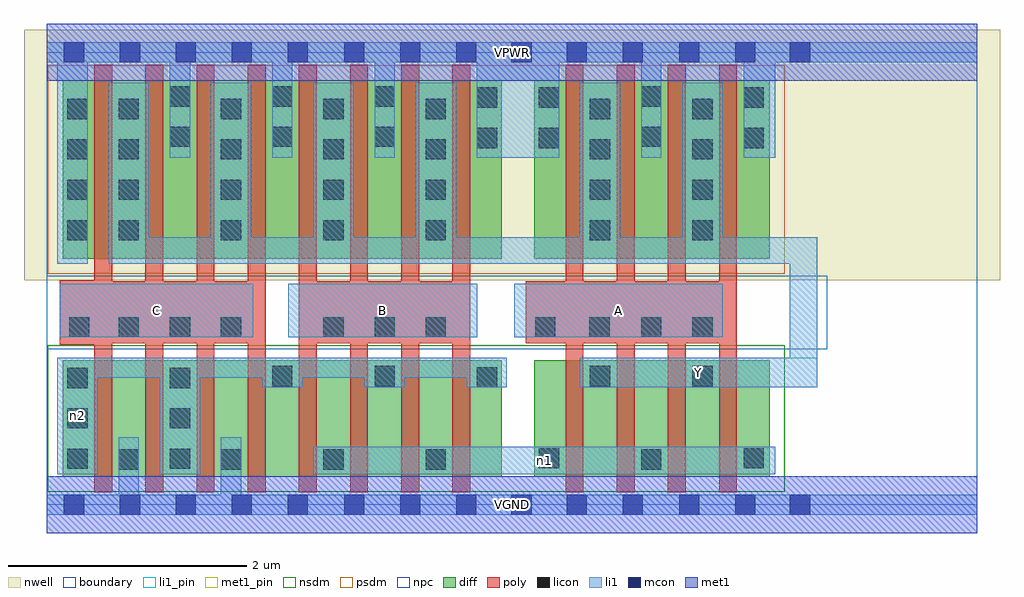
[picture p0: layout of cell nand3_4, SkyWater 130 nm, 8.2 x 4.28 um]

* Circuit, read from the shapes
.subckt nand3_4 A B C VGND VPWR Y n1 n2
XM1 VGND C n2 VSUBS sky130_fd_pr__nfet_01v8 w=0.98 l=0.15 m=4
XM2 n1 B n2 VSUBS sky130_fd_pr__nfet_01v8 w=0.98 l=0.15 m=4
XM3 Y A n1 VSUBS sky130_fd_pr__nfet_01v8 w=0.98 l=0.15 m=4
XM4 Y C VPWR n3 sky130_fd_pr__pfet_01v8 w=1.5 l=0.15 m=4
XM5 Y B VPWR n3 sky130_fd_pr__pfet_01v8 w=1.5 l=0.15 m=4
XM6 Y A VPWR n3 sky130_fd_pr__pfet_01v8 w=1.5 l=0.15 m=4
.ends

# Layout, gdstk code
import gdstk
lib = gdstk.Library(unit=1e-6, precision=1e-09)
def R(c, l, rs):  # rectangles x0, y0, x1, y1
    for r in rs: c.add(gdstk.rectangle(r[:2], r[2:], *l))
def A(c, l, x, y, w, h, nx, ny, dx, dy):  # array of equal rectangles
    R(c, l, [(x+i*dx, y+j*dy, x+i*dx+w, y+j*dy+h) for i in range(nx) for j in range(ny)])
nwell = (64, 20)
diff = (65, 20)
poly = (66, 20)
licon = (66, 44)
li1_pin = (67, 16)
li1 = (67, 20)
mcon = (67, 44)
met1_pin = (68, 16)
met1 = (68, 20)
nsdm = (93, 44)
psdm = (94, 20)
npc = (95, 20)
boundary = (235, 4)

nand3_4 = lib.new_cell('nand3_4')
R(nand3_4, nwell, [(-0.19,1.885,8.01,3.99), (0,1.885,7.82,3.99)])
R(nand3_4, diff, [(0.135,0.235,3.825,1.215), (4.095,0.235,6.075,1.215), (0.135,2.065,3.825,3.565), (4.095,2.065,6.075,3.565)])
A(nand3_4, poly, 0.4, 0.105, 0.15, 3.59, 8, 1, 0.43, 0)
A(nand3_4, poly, 4.36, 0.105, 0.15, 3.59, 4, 1, 0.43, 0)
R(nand3_4, poly, [(0.11,1.345,0.55,1.885), (0.11,1.355,1.84,1.875), (2.12,1.355,3.56,1.875), (4.025,1.355,5.8,1.875)])
A(nand3_4, licon, 0.605, 0.295, 0.17, 0.17, 4, 2, 0.86, 1.925)
A(nand3_4, licon, 0.175, 0.3, 0.17, 0.17, 1, 3, 0, 0.34)
A(nand3_4, licon, 1.035, 0.3, 0.17, 0.17, 1, 3, 0, 0.34)
A(nand3_4, licon, 0.605, 1.405, 0.17, 0.17, 3, 1, 0.43, 0)
A(nand3_4, licon, 2.325, 1.405, 0.17, 0.17, 3, 1, 0.43, 0)
A(nand3_4, licon, 0.175, 2.22, 0.17, 0.17, 1, 4, 0, 0.34)
A(nand3_4, licon, 4.565, 2.22, 0.17, 0.17, 1, 4, 0, 0.34)
A(nand3_4, licon, 5.425, 2.22, 0.17, 0.17, 1, 4, 0, 0.34)
A(nand3_4, licon, 0.605, 2.56, 0.17, 0.17, 4, 3, 0.86, 0.34)
A(nand3_4, licon, 1.035, 3.005, 0.17, 0.17, 3, 2, 0.86, 0.34)
R(nand3_4, licon, [(4.995,0.295,5.165,0.465), (4.135,0.305,4.305,0.475), (5.855,0.305,6.025,0.475), (3.615,0.985,3.785,1.155), (1.895,0.995,2.065,1.165), (2.755,0.995,2.925,1.165), (4.565,0.995,4.735,1.165), (5.425,0.995,5.595,1.165), (0.19,1.405,0.36,1.575), (4.105,1.405,4.275,1.575), (4.56,1.405,4.73,1.575), (4.995,1.405,5.165,1.575), (5.425,1.405,5.595,1.575), (3.615,2.995,3.785,3.165), (4.135,2.995,4.305,3.165), (5.855,2.995,6.025,3.165), (4.995,3.005,5.165,3.175), (3.615,3.335,3.785,3.505), (4.135,3.335,4.305,3.505), (5.855,3.335,6.025,3.505), (4.995,3.345,5.165,3.515)])
R(nand3_4, li1_pin, [(4.48,0.985,6.475,1.235), (0.11,1.405,1.735,1.855), (2.03,1.405,3.62,1.855), (3.93,1.405,5.68,1.855)])
A(nand3_4, li1, 0.52, 2.025, 0.34, 1.52, 4, 1, 0.86, 0)
A(nand3_4, li1, 1.035, 2.915, 0.17, 0.97, 3, 1, 0.86, 0)
R(nand3_4, li1, [(0,-0.085,7.82,0.085), (0.605,-0.085,0.775,0.565), (1.465,-0.085,1.635,0.565), (0.09,0.255,0.43,1.235), (0.95,0.255,1.29,1.235), (2.24,0.255,6.12,0.485), (1.81,0.985,2.15,1.235), (2.67,0.985,3.01,1.235), (3.53,0.985,3.865,1.235), (4.48,0.985,6.475,1.235), (6.245,0.985,6.475,2.245), (0.09,1.065,3.865,1.235), (0.11,1.405,1.735,1.855), (2.03,1.405,3.62,1.855), (3.93,1.405,5.68,1.855), (0.09,2.025,0.345,3.885), (0.52,2.025,6.475,2.245), (4.48,2.025,4.82,3.545), (5.34,2.025,5.68,3.545), (3.615,2.915,4.305,3.885), (4.995,2.915,5.165,3.885), (5.855,2.915,6.12,3.885), (0,3.715,7.82,3.885)])
A(nand3_4, mcon, 0.145, -0.085, 0.17, 0.17, 5, 2, 0.47, 3.8)
A(nand3_4, mcon, 2.5, -0.085, 0.17, 0.17, 3, 2, 0.47, 3.8)
R(nand3_4, mcon, [(3.905,-0.085,4.075,0.085), (4.37,-0.085,4.54,0.085), (4.84,-0.085,5.01,0.085), (5.315,-0.085,5.485,0.085), (5.785,-0.085,5.955,0.085), (6.245,-0.085,6.415,0.085), (3.905,3.715,4.075,3.885), (4.37,3.715,4.54,3.885), (4.84,3.715,5.01,3.885), (5.315,3.715,5.485,3.885), (5.785,3.715,5.955,3.885), (6.245,3.715,6.415,3.885)])
R(nand3_4, met1_pin, [(0,-0.24,7.82,0.24), (0,3.56,7.82,4.04)])
R(nand3_4, met1, [(0,-0.24,7.82,0.24), (0,3.56,7.82,4.04)])
R(nand3_4, nsdm, [(0.01,0.11,6.2,1.34)])
R(nand3_4, psdm, [(0.01,1.94,6.2,3.69)])
R(nand3_4, npc, [(0,1.305,6.56,1.925)])
R(nand3_4, boundary, [(0,0,7.82,3.8)])
nand3_4.add(gdstk.Label('A', (4.805,1.63), layer=67, texttype=5))
nand3_4.add(gdstk.Label('B', (2.825,1.63), layer=67, texttype=5))
nand3_4.add(gdstk.Label('C', (0.922,1.63), layer=67, texttype=5))
nand3_4.add(gdstk.Label('Y', (5.477,1.11), layer=67, texttype=5))
nand3_4.add(gdstk.Label('n1', (4.18,0.37), layer=67, texttype=5))
nand3_4.add(gdstk.Label('n2', (0.26,0.745), layer=67, texttype=5))
nand3_4.add(gdstk.Label('VPWR', (3.91,3.8), layer=68, texttype=5))
nand3_4.add(gdstk.Label('VGND', (3.91,0), layer=68, texttype=5))
nand3_4.add(gdstk.Label('A', (4.805,1.63), layer=67, texttype=16))
nand3_4.add(gdstk.Label('B', (2.825,1.63), layer=67, texttype=16))
nand3_4.add(gdstk.Label('C', (0.922,1.63), layer=67, texttype=16))
nand3_4.add(gdstk.Label('Y', (5.477,1.11), layer=67, texttype=16))
nand3_4.add(gdstk.Label('VPWR', (3.91,3.8), layer=68, texttype=16))
nand3_4.add(gdstk.Label('VGND', (3.91,0), layer=68, texttype=16))

lib.write_gds('nand3_4.gds')
